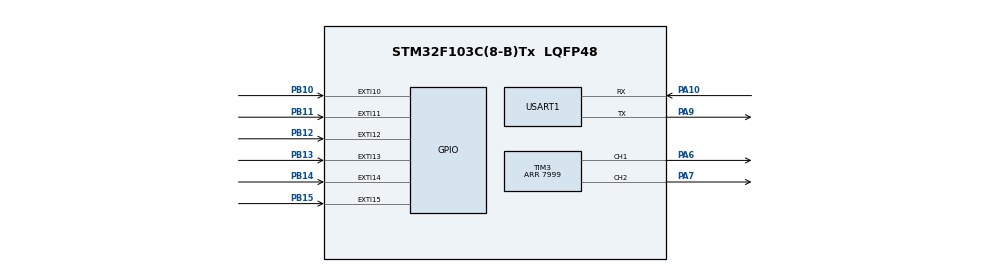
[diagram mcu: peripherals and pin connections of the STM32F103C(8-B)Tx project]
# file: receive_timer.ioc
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Dma.Request0=USART1_TX
Dma.Request1=USART1_RX
Dma.USART1_RX.1.Direction=DMA_PERIPH_TO_MEMORY
Dma.USART1_RX.1.Instance=DMA1_Channel5
Dma.USART1_RX.1.MemDataAlignment=DMA_MDATAALIGN_BYTE
Dma.USART1_RX.1.MemInc=DMA_MINC_ENABLE
Dma.USART1_RX.1.Mode=DMA_NORMAL
Dma.USART1_RX.1.PeriphDataAlignment=DMA_PDATAALIGN_BYTE
Dma.USART1_RX.1.PeriphInc=DMA_PINC_DISABLE
Dma.USART1_RX.1.Priority=DMA_PRIORITY_LOW
Dma.USART1_TX.0.Direction=DMA_MEMORY_TO_PERIPH
Dma.USART1_TX.0.Instance=DMA1_Channel4
Dma.USART1_TX.0.MemDataAlignment=DMA_MDATAALIGN_BYTE
Dma.USART1_TX.0.MemInc=DMA_MINC_ENABLE
Dma.USART1_TX.0.Mode=DMA_NORMAL
Dma.USART1_TX.0.PeriphDataAlignment=DMA_PDATAALIGN_BYTE
Dma.USART1_TX.0.PeriphInc=DMA_PINC_DISABLE
Dma.USART1_TX.0.Priority=DMA_PRIORITY_LOW
Mcu.Family=STM32F1
Mcu.Name=STM32F103C(8-B)Tx
Mcu.Package=LQFP48
NVIC.DMA1_Channel4_IRQn=true\:0\:0\:false\:false\:true\:false\:true\:true
NVIC.DMA1_Channel5_IRQn=true\:0\:0\:false\:false\:true\:false\:true\:true
NVIC.EXTI15_10_IRQn=true\:0\:0\:false\:false\:true\:true\:true\:true
NVIC.PriorityGroup=NVIC_PRIORITYGROUP_4
PA10.Mode=Asynchronous
PA10.Signal=USART1_RX
PA13.Mode=Serial_Wire
PA13.Signal=SYS_JTMS-SWDIO
PA14.Mode=Serial_Wire
PA14.Signal=SYS_JTCK-SWCLK
PA6.Signal=S_TIM3_CH1
PA7.Signal=S_TIM3_CH2
PA9.Mode=Asynchronous
PA9.Signal=USART1_TX
PB10.GPIO_ModeDefaultEXTI=GPIO_MODE_IT_RISING_FALLING
PB10.Signal=GPXTI10
PB11.GPIO_ModeDefaultEXTI=GPIO_MODE_IT_RISING_FALLING
PB11.Signal=GPXTI11
PB12.GPIO_ModeDefaultEXTI=GPIO_MODE_IT_RISING_FALLING
PB12.Signal=GPXTI12
PB13.GPIO_ModeDefaultEXTI=GPIO_MODE_IT_RISING_FALLING
PB13.Signal=GPXTI13
PB14.GPIO_ModeDefaultEXTI=GPIO_MODE_IT_RISING_FALLING
PB14.Signal=GPXTI14
PB15.GPIO_ModeDefaultEXTI=GPIO_MODE_IT_RISING_FALLING
PB15.Signal=GPXTI15
PD0-OSC_IN.Mode=HSE-External-Oscillator
PD0-OSC_IN.Signal=RCC_OSC_IN
PD1-OSC_OUT.Mode=HSE-External-Oscillator
PD1-OSC_OUT.Signal=RCC_OSC_OUT
ProjectManager.HeapSize=0x200
ProjectManager.StackSize=0x400
ProjectManager.TargetToolchain=STM32CubeIDE
RCC.APB1Freq_Value=8000000
RCC.APB2Freq_Value=8000000
RCC.SYSCLKSource=RCC_SYSCLKSOURCE_HSE
SH.S_TIM3_CH1.0=TIM3_CH1,PWM Generation1 CH1
SH.S_TIM3_CH2.0=TIM3_CH2,PWM Generation2 CH2
TIM2.Period=65535
TIM2.Prescaler=11
TIM3.Channel-PWM\ Generation1\ CH1=TIM_CHANNEL_1
TIM3.Channel-PWM\ Generation2\ CH2=TIM_CHANNEL_2
TIM3.OCMode_PWM-PWM\ Generation1\ CH1=TIM_OCMODE_PWM1
TIM3.OCMode_PWM-PWM\ Generation2\ CH2=TIM_OCMODE_PWM1
TIM3.Period=7999
USART1.VirtualMode=VM_ASYNC
VP_TIM2_VS_ClockSourceINT.Mode=Internal
VP_TIM3_VS_ClockSourceINT.Mode=Internal
board=custom

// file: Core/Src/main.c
/* USER CODE BEGIN Header */
/**
  ******************************************************************************
  * @file           : main.c
  * @brief          : Main program body
  ******************************************************************************
  * @attention
  *
  * Copyright (c) 2022 STMicroelectronics.
  * All rights reserved.
  *
  * This software is licensed under terms that can be found in the LICENSE file
  * in the root directory of this software component.
  * If no LICENSE file comes with this software, it is provided AS-IS.
  *
  ******************************************************************************
  */
/* USER CODE END Header */
#include "main.h"

TIM_HandleTypeDef htim2;
TIM_HandleTypeDef htim3;

UART_HandleTypeDef huart1;
DMA_HandleTypeDef hdma_usart1_tx;
DMA_HandleTypeDef hdma_usart1_rx;

void SystemClock_Config(void);
static void MX_GPIO_Init(void);
static void MX_DMA_Init(void);
static void MX_USART1_UART_Init(void);
static void MX_TIM2_Init(void);
static void MX_TIM3_Init(void);

/* USER CODE BEGIN 0 */
#define SERIAL_DEBUG

#define NCHANNELS 6
#define THROTTLE_CHANNEL 2
#define STEERING_CHANNEL 3
#define LIGHTS_CHANNEL   1

#define CHANNELS_THRESHOLD 80

volatile uint32_t high_time[NCHANNELS];
volatile uint16_t high_start[NCHANNELS];
volatile uint32_t low_time[NCHANNELS];
volatile uint16_t low_start[NCHANNELS];
volatile uint16_t cnt_reg;
volatile uint32_t time_of_last_reading;

#ifdef SERIAL_DEBUG
void time_to_str(uint32_t time, unsigned char* str, unsigned int digits)
{
	for (unsigned char * p = str + digits - 1; p >= str; p--)
	{
		*p = time % 10 + '0';
		time /= 10;
	}
}
#endif

uint32_t ticks_to_us(uint16_t ticks)
{
	return (uint32_t)ticks * (htim2.Init.Prescaler + 1)
		   / (SystemCoreClock / 1000000);
}

void get_pwm_values(uint16_t *left_pump_pwm, uint16_t *right_pump_pwm, uint32_t max_pwm)
{
	int32_t throttle_value = ticks_to_us(high_time[THROTTLE_CHANNEL]);
	int32_t steering_value = ticks_to_us(high_time[STEERING_CHANNEL]);
	if (throttle_value - 1500 < CHANNELS_THRESHOLD
		&& throttle_value - 1500 > -CHANNELS_THRESHOLD)
		throttle_value = 1500;
	if (steering_value - 1500 < CHANNELS_THRESHOLD
		&& steering_value - 1500 > -CHANNELS_THRESHOLD)
		steering_value = 1500;

	// Mix channels using raw microsecond values
	if (throttle_value > steering_value)
	{
		*right_pump_pwm = throttle_value - steering_value;
		if (*right_pump_pwm > 500)
			*right_pump_pwm = 500;
	}
	else
	{
		*right_pump_pwm = 0;
	}

	if ((throttle_value - 1500) + (steering_value - 1500) > 0)
	{
		*left_pump_pwm = (throttle_value - 1500) + (steering_value - 1500);
		if (*left_pump_pwm > 500)
			*left_pump_pwm = 500;
	}
	else
	{
		*left_pump_pwm = 0;
	}

	// Scale microsecond value to pwm values
	*right_pump_pwm = (*right_pump_pwm) * max_pwm / 500;
	*left_pump_pwm = (*left_pump_pwm) * max_pwm / 500;
}
/* USER CODE END 0 */

int main(void)
{

  /* MCU Configuration--------------------------------------------------------*/

  /* Reset of all peripherals, Initializes the Flash interface and the Systick. */
  HAL_Init();

  /* USER CODE BEGIN Init */
  uint16_t pump1_pwm = 0, pump2_pwm = 0;
  uint8_t running = 0;
  /* USER CODE END Init */

  /* Configure the system clock */
  SystemClock_Config();

  /* Initialize all configured peripherals */
  MX_GPIO_Init();
  MX_DMA_Init();
  MX_USART1_UART_Init();
  MX_TIM2_Init();
  MX_TIM3_Init();
  /* USER CODE BEGIN 2 */
  HAL_TIM_Base_Start(&htim2);
  HAL_TIM_PWM_Start(&htim3, TIM_CHANNEL_1);
  HAL_TIM_PWM_Start(&htim3, TIM_CHANNEL_2);

  /* USER CODE END 2 */

  /* Infinite loop */
  while (1)
  {

    /* USER CODE BEGIN 3 */
#ifdef SERIAL_DEBUG
	unsigned char buf[] = "STM: Channel 0: high_time = XXXXXXuS, freq = XXXXXXHz\n";
	for (int i = 0; i < NCHANNELS; i++)
	{
		buf[13] = i + '0';
		time_to_str(ticks_to_us(high_time[i]), buf + 28, 6);
		time_to_str(1000000 / (ticks_to_us(high_time[i]) + ticks_to_us(low_time[i])), buf + 45, 6);
		HAL_UART_Transmit(&huart1, buf, sizeof(buf), 10);
	}
	HAL_UART_Transmit(&huart1, (uint8_t *)"---------------------------------------\n", 40, 10);
	HAL_Delay(100);
#endif
	// If a second has passed without any readings
	if (running && HAL_GetTick() - time_of_last_reading > 1000)
	{
		running = 0;
		// Stop both pumps
		pump1_pwm = 0;
		pump2_pwm = 0;
#ifdef SERIAL_DEBUG
		HAL_UART_Transmit(&huart1, (uint8_t *)"Stopped\n", 8, 10);
#endif
	}
	else
	{
		running = 1;
		get_pwm_values(&pump1_pwm, &pump2_pwm, TIM3->ARR);
#ifdef SERIAL_DEBUG
		unsigned char buf2[] = " Pump PWM = XXXXX\n";
		time_to_str(pump1_pwm, buf2 + 12, 5);
		HAL_UART_Transmit(&huart1, (uint8_t *)"Left ", 5, 5);
		HAL_UART_Transmit(&huart1, buf2, sizeof(buf2), 5);
		time_to_str(pump2_pwm, buf2 + 12, 5);
		HAL_UART_Transmit(&huart1, (uint8_t *)"Right", 5, 5);
		HAL_UART_Transmit(&huart1, buf2, sizeof(buf2), 5);
#endif
	}

	TIM3->CCR1 = pump1_pwm;
	TIM3->CCR2 = pump2_pwm;

  }
  /* USER CODE END 3 */
}

void SystemClock_Config(void)
{
  RCC_OscInitTypeDef RCC_OscInitStruct = {0};
  RCC_ClkInitTypeDef RCC_ClkInitStruct = {0};

  /** Initializes the RCC Oscillators according to the specified parameters
  * in the RCC_OscInitTypeDef structure.
  */
  RCC_OscInitStruct.OscillatorType = RCC_OSCILLATORTYPE_HSE;
  RCC_OscInitStruct.HSEState = RCC_HSE_ON;
  RCC_OscInitStruct.PLL.PLLState = RCC_PLL_NONE;
  if (HAL_RCC_OscConfig(&RCC_OscInitStruct) != HAL_OK)
  {
    Error_Handler();
  }

  /** Initializes the CPU, AHB and APB buses clocks
  */
  RCC_ClkInitStruct.ClockType = RCC_CLOCKTYPE_HCLK|RCC_CLOCKTYPE_SYSCLK
                              |RCC_CLOCKTYPE_PCLK1|RCC_CLOCKTYPE_PCLK2;
  RCC_ClkInitStruct.SYSCLKSource = RCC_SYSCLKSOURCE_HSE;
  RCC_ClkInitStruct.AHBCLKDivider = RCC_SYSCLK_DIV1;
  RCC_ClkInitStruct.APB1CLKDivider = RCC_HCLK_DIV1;
  RCC_ClkInitStruct.APB2CLKDivider = RCC_HCLK_DIV1;

  if (HAL_RCC_ClockConfig(&RCC_ClkInitStruct, FLASH_LATENCY_0) != HAL_OK)
  {
    Error_Handler();
  }
}

static void MX_TIM2_Init(void)
{

  TIM_ClockConfigTypeDef sClockSourceConfig = {0};
  TIM_MasterConfigTypeDef sMasterConfig = {0};

  htim2.Instance = TIM2;
  htim2.Init.Prescaler = 11;
  htim2.Init.CounterMode = TIM_COUNTERMODE_UP;
  htim2.Init.Period = 65535;
  htim2.Init.ClockDivision = TIM_CLOCKDIVISION_DIV1;
  htim2.Init.AutoReloadPreload = TIM_AUTORELOAD_PRELOAD_DISABLE;
  if (HAL_TIM_Base_Init(&htim2) != HAL_OK)
  {
    Error_Handler();
  }
  sClockSourceConfig.ClockSource = TIM_CLOCKSOURCE_INTERNAL;
  if (HAL_TIM_ConfigClockSource(&htim2, &sClockSourceConfig) != HAL_OK)
  {
    Error_Handler();
  }
  sMasterConfig.MasterOutputTrigger = TIM_TRGO_RESET;
  sMasterConfig.MasterSlaveMode = TIM_MASTERSLAVEMODE_DISABLE;
  if (HAL_TIMEx_MasterConfigSynchronization(&htim2, &sMasterConfig) != HAL_OK)
  {
    Error_Handler();
  }

}

static void MX_TIM3_Init(void)
{

  TIM_ClockConfigTypeDef sClockSourceConfig = {0};
  TIM_MasterConfigTypeDef sMasterConfig = {0};
  TIM_OC_InitTypeDef sConfigOC = {0};

  htim3.Instance = TIM3;
  htim3.Init.Prescaler = 0;
  htim3.Init.CounterMode = TIM_COUNTERMODE_UP;
  htim3.Init.Period = 7999;
  htim3.Init.ClockDivision = TIM_CLOCKDIVISION_DIV1;
  htim3.Init.AutoReloadPreload = TIM_AUTORELOAD_PRELOAD_DISABLE;
  if (HAL_TIM_Base_Init(&htim3) != HAL_OK)
  {
    Error_Handler();
  }
  sClockSourceConfig.ClockSource = TIM_CLOCKSOURCE_INTERNAL;
  if (HAL_TIM_ConfigClockSource(&htim3, &sClockSourceConfig) != HAL_OK)
  {
    Error_Handler();
  }
  if (HAL_TIM_PWM_Init(&htim3) != HAL_OK)
  {
    Error_Handler();
  }
  sMasterConfig.MasterOutputTrigger = TIM_TRGO_RESET;
  sMasterConfig.MasterSlaveMode = TIM_MASTERSLAVEMODE_DISABLE;
  if (HAL_TIMEx_MasterConfigSynchronization(&htim3, &sMasterConfig) != HAL_OK)
  {
    Error_Handler();
  }
  sConfigOC.OCMode = TIM_OCMODE_PWM1;
  sConfigOC.Pulse = 0;
  sConfigOC.OCPolarity = TIM_OCPOLARITY_HIGH;
  sConfigOC.OCFastMode = TIM_OCFAST_DISABLE;
  if (HAL_TIM_PWM_ConfigChannel(&htim3, &sConfigOC, TIM_CHANNEL_1) != HAL_OK)
  {
    Error_Handler();
  }
  if (HAL_TIM_PWM_ConfigChannel(&htim3, &sConfigOC, TIM_CHANNEL_2) != HAL_OK)
  {
    Error_Handler();
  }
  HAL_TIM_MspPostInit(&htim3);

}

static void MX_USART1_UART_Init(void)
{

  huart1.Instance = USART1;
  huart1.Init.BaudRate = 115200;
  huart1.Init.WordLength = UART_WORDLENGTH_8B;
  huart1.Init.StopBits = UART_STOPBITS_1;
  huart1.Init.Parity = UART_PARITY_NONE;
  huart1.Init.Mode = UART_MODE_TX_RX;
  huart1.Init.HwFlowCtl = UART_HWCONTROL_NONE;
  huart1.Init.OverSampling = UART_OVERSAMPLING_16;
  if (HAL_UART_Init(&huart1) != HAL_OK)
  {
    Error_Handler();
  }

}

static void MX_DMA_Init(void)
{

  /* DMA controller clock enable */
  __HAL_RCC_DMA1_CLK_ENABLE();

  /* DMA interrupt init */
  /* DMA1_Channel4_IRQn interrupt configuration */
  HAL_NVIC_SetPriority(DMA1_Channel4_IRQn, 0, 0);
  HAL_NVIC_EnableIRQ(DMA1_Channel4_IRQn);
  /* DMA1_Channel5_IRQn interrupt configuration */
  HAL_NVIC_SetPriority(DMA1_Channel5_IRQn, 0, 0);
  HAL_NVIC_EnableIRQ(DMA1_Channel5_IRQn);

}

static void MX_GPIO_Init(void)
{
  GPIO_InitTypeDef GPIO_InitStruct = {0};

  /* GPIO Ports Clock Enable */
  __HAL_RCC_GPIOD_CLK_ENABLE();
  __HAL_RCC_GPIOA_CLK_ENABLE();
  __HAL_RCC_GPIOB_CLK_ENABLE();

  /*Configure GPIO pins : PB10 PB11 PB12 PB13
                           PB14 PB15 */
  GPIO_InitStruct.Pin = GPIO_PIN_10|GPIO_PIN_11|GPIO_PIN_12|GPIO_PIN_13
                          |GPIO_PIN_14|GPIO_PIN_15;
  GPIO_InitStruct.Mode = GPIO_MODE_IT_RISING_FALLING;
  GPIO_InitStruct.Pull = GPIO_NOPULL;
  HAL_GPIO_Init(GPIOB, &GPIO_InitStruct);

  /* EXTI interrupt init*/
  HAL_NVIC_SetPriority(EXTI15_10_IRQn, 0, 0);
  HAL_NVIC_EnableIRQ(EXTI15_10_IRQn);

}

/* USER CODE BEGIN 4 */
void HAL_GPIO_EXTI_Callback(uint16_t GPIO_Pin)
{
	cnt_reg = __HAL_TIM_GET_COUNTER(&htim2);

	int i;
	if (GPIO_Pin == GPIO_PIN_10)
		i = 0;
	else if (GPIO_Pin == GPIO_PIN_11)
		i = 1;
	else if (GPIO_Pin == GPIO_PIN_12)
		i = 2;
	else if (GPIO_Pin == GPIO_PIN_13)
		i = 3;
	else if (GPIO_Pin == GPIO_PIN_14)
		i = 4;
	else if (GPIO_Pin == GPIO_PIN_15)
		i = 5;
	else
		return;

	time_of_last_reading = HAL_GetTick();

	if (HAL_GPIO_ReadPin(GPIOB, GPIO_Pin))
	{
		high_start[i] = cnt_reg;
		low_time[i] = cnt_reg - low_start[i];
	}
	else
	{
		high_time[i] = cnt_reg - high_start[i];
		low_start[i] = cnt_reg;
	}
}
/* USER CODE END 4 */

void Error_Handler(void)
{
  __disable_irq();
  while (1)
  {
  }
}
